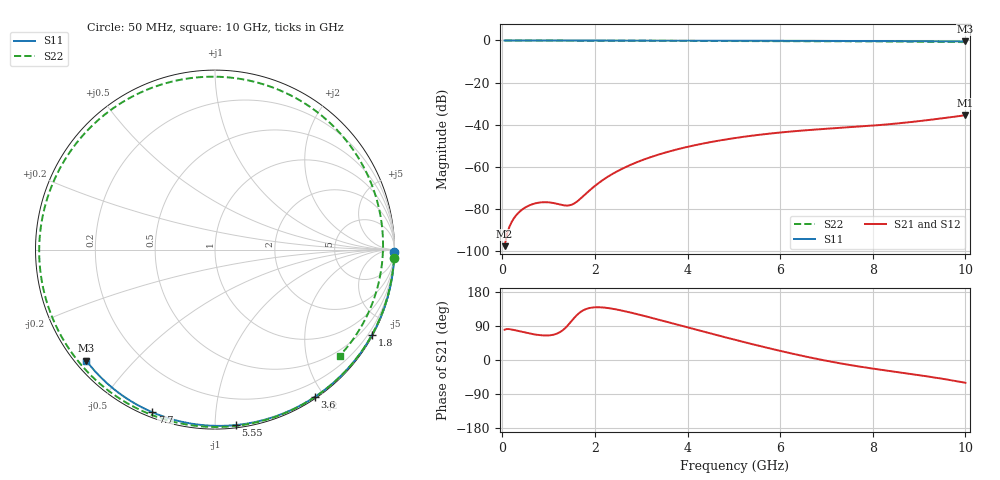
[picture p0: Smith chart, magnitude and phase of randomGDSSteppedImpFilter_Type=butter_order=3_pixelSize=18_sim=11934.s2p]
! freq	dB(S11)	phase(S11)	dB(S12)	phase(S12)
!  dB(S21)	phase(S21)	dB(S22)	phase(S22)
!S-par simulation data
#  GHz  S  DB  R 50
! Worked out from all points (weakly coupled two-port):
!   200 points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, 50 MHz to 10 GHz, reference 50 ohm
!   highest |S21| = -35.50 dB at 10 GHz (marker M1); lowest = -97.6 dB at 50 MHz (marker M2)
!   lowest |S11| = -0.5 dB at 10 GHz (marker M3), VSWR 36.79, Z = 1.55 - j18.5 ohm
!   |S11| at or under -10 dB: nowhere
!   |S22| runs from -0.8 to 0.0 dB; largest |S21 - S12| = 0
!   S11 on the Smith chart (normalised r, x): 50 MHz: open; 1.8 GHz: 0.03, -3.93; 3.6 GHz: 0.02, -1.89; 5.55 GHz: 0.02, -1.13; 7.7 GHz: 0.02, -0.69; 10 GHz: 0.03, -0.37
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0.05  -0.00 -0.8  -97.65 79.9  -97.65 79.9  -0.01 -2.8
0.45  -0.01 -7.2  -79.94 73.7  -79.94 73.7  -0.04 -25.6
0.7  -0.01 -11.2  -77.40 67.5  -77.40 67.5  -0.05 -39.5
0.95  -0.02 -15.2  -76.79 64.7  -76.79 64.7  -0.07 -52.9
1.45  -0.03 -23.1  -78.27 96.3  -78.27 96.3  -0.09 -78.2
1.75  -0.04 -27.8  -73.86 131.2  -73.86 131.2  -0.10 -92.4
1.8  -0.04 -28.6  -72.85 134.1  -72.85 134.1  -0.11 -94.6
2.15  -0.04 -34.0  -66.57 138.8  -66.57 138.8  -0.12 -110.0
2.5  -0.05 -39.3  -61.89 132.5  -61.89 132.5  -0.13 -124.4
2.95  -0.06 -46.1  -57.41 119.8  -57.41 119.8  -0.14 -141.8
3.4  -0.07 -52.8  -54.00 105.6  -54.00 105.6  -0.16 -158.1
3.6  -0.08 -55.8  -52.72 99.1  -52.72 99.1  -0.16 -165.1
4.3  -0.09 -65.9  -49.08 76.4  -49.08 76.4  -0.19 171.0
5.05  -0.12 -76.4  -46.23 52.5  -46.23 52.5  -0.23 145.9
5.55  -0.14 -83.2  -44.77 37.2  -44.77 37.2  -0.25 129.0
6.15  -0.16 -91.2  -43.38 19.9  -43.38 19.9  -0.29 108.2
6.7  -0.19 -98.4  -42.39 5.3  -42.39 5.3  -0.33 88.3
7.2  -0.22 -104.8  -41.62 -6.7  -41.62 -6.7  -0.37 69.7
7.7  -0.25 -111.1  -40.89 -17.1  -40.89 -17.1  -0.41 50.4
8.35  -0.31 -119.1  -39.77 -28.8  -39.77 -28.8  -0.48 24.7
9.15  -0.38 -128.9  -37.90 -42.7  -37.90 -42.7  -0.61 -7.1
10  -0.47 -139.3  -35.50 -60.1  -35.50 -60.1  -0.80 -40.3
